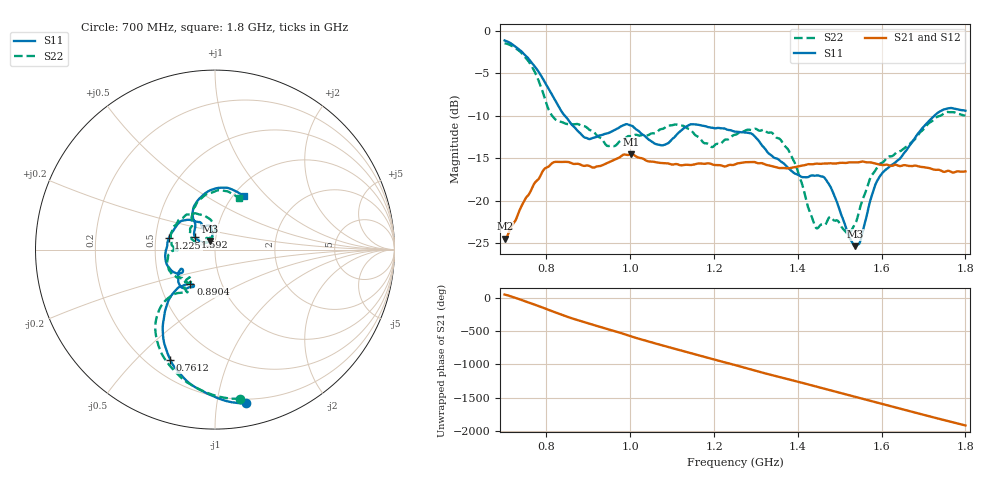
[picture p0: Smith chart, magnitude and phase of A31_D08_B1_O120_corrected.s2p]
! Created with skrf 1.9.0 (http://scikit-rf.org).
# Hz S RI R 50.0
!freq ReS11 ImS11 ReS21 ImS21 ReS12 ImS12 ReS22 ImS22
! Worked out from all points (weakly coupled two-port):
!   1601 points, 700 MHz to 1.8 GHz, reference 50 ohm
!   highest |S21| = -14.53 dB at 1.002 GHz (marker M1); lowest = -24.5 dB at 700.7 MHz (marker M2)
!   lowest |S11| = -25.3 dB at 1.537 GHz (marker M3), VSWR 1.11, Z = 47.3 + j4.5 ohm
!   |S11| at or under -10 dB: 843.4 MHz to 1.726 GHz (882.8 MHz wide, 68.7 % of centre)
!   |S22| runs from -23.9 to -1.5 dB; largest |S21 - S12| = 0.0036
!   S11 on the Smith chart (normalised r, x): 700 MHz: 0.17, -1.21; 761.2 MHz: 0.29, -0.63; 890.4 MHz: 0.71, -0.29; 1.225 GHz: 0.59, +0.08; 1.592 GHz: 0.79, +0.12; 1.8 GHz: 1.12, +0.75
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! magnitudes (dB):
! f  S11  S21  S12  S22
! 700 MHz  -1.2  -24.4  -24.2  -1.5
! 700.7 MHz  -1.2  -24.5  -24.1  -1.5
! 761.2 MHz  -3.6  -19.0  -18.9  -3.9
! 816.2 MHz  -7.8  -15.5  -15.6  -10.2
! 883.6 MHz  -12.2  -15.8  -15.7  -11.2
! 890.4 MHz  -12.5  -15.9  -15.9  -11.2
! 947.5 MHz  -12.1  -15.5  -15.5  -13.6
! 1.002 GHz  -11.2  -14.5  -14.6  -12.4
! 1.067 GHz  -13.4  -15.5  -15.5  -11.8
! 1.144 GHz  -11.0  -15.8  -15.8  -11.7
! 1.225 GHz  -11.5  -16.0  -15.9  -12.8
! 1.25 GHz  -11.9  -15.7  -15.7  -12.2
! 1.359 GHz  -15.3  -16.2  -16.1  -12.8
! 1.394 GHz  -16.8  -16.0  -16.0  -15.7
! 1.434 GHz  -17.0  -15.7  -15.7  -21.9
! 1.473 GHz  -17.9  -15.6  -15.6  -22.1
! 1.52 GHz  -23.9  -15.5  -15.5  -23.9
! 1.537 GHz  -25.3  -15.5  -15.5  -22.7
! 1.592 GHz  -17.5  -15.7  -15.7  -15.9
! 1.617 GHz  -16.1  -15.8  -15.8  -14.8
! 1.733 GHz  -9.7  -16.4  -16.4  -10.1
! 1.8 GHz  -9.4  -16.5  -16.5  -10.0
